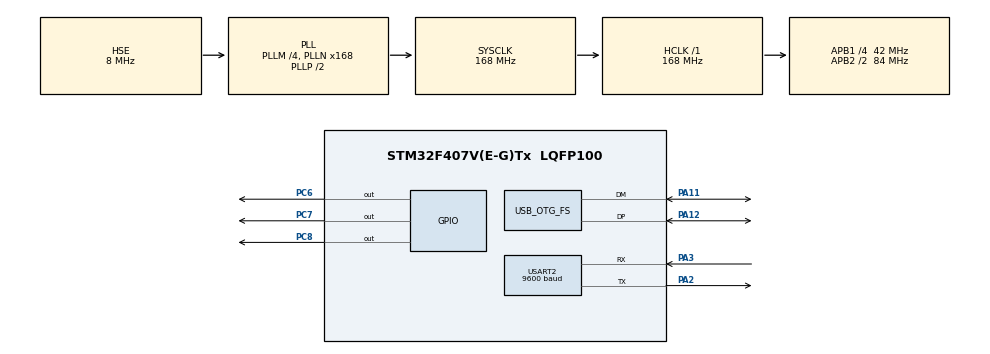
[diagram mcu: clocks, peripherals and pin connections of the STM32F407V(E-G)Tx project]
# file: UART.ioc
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FATFS._MAX_SS=4096
FATFS._MIN_SS=4096
Mcu.Family=STM32F4
Mcu.Name=STM32F407V(E-G)Tx
Mcu.Package=LQFP100
NVIC.OTG_FS_IRQn=true\:0\:0\:false\:false\:true\:false\:true
NVIC.PriorityGroup=NVIC_PRIORITYGROUP_4
NVIC.USART2_IRQn=true\:0\:0\:false\:false\:true\:true\:true
PA11.Mode=Host_Only
PA11.Signal=USB_OTG_FS_DM
PA12.Mode=Host_Only
PA12.Signal=USB_OTG_FS_DP
PA13.Mode=Serial_Wire
PA13.Signal=SYS_JTMS-SWDIO
PA14.Mode=Serial_Wire
PA14.Signal=SYS_JTCK-SWCLK
PA2.Mode=Asynchronous
PA2.Signal=USART2_TX
PA3.Mode=Asynchronous
PA3.Signal=USART2_RX
PC6.Signal=GPIO_Output
PC7.Signal=GPIO_Output
PC8.Signal=GPIO_Output
PH0-OSC_IN.Mode=HSE-External-Oscillator
PH0-OSC_IN.Signal=RCC_OSC_IN
PH1-OSC_OUT.Mode=HSE-External-Oscillator
PH1-OSC_OUT.Signal=RCC_OSC_OUT
ProjectManager.HeapSize=0x2000
ProjectManager.StackSize=0x4000
ProjectManager.TargetToolchain=MDK-ARM V5
RCC.48MHZClocksFreq_Value=48000000
RCC.AHBFreq_Value=168000000
RCC.APB1CLKDivider=RCC_HCLK_DIV4
RCC.APB1Freq_Value=42000000
RCC.APB1TimFreq_Value=84000000
RCC.APB2CLKDivider=RCC_HCLK_DIV2
RCC.APB2Freq_Value=84000000
RCC.APB2TimFreq_Value=168000000
RCC.CortexFreq_Value=168000000
RCC.HCLKFreq_Value=168000000
RCC.HSE_VALUE=8000000
RCC.HSI_VALUE=16000000
RCC.LSE_VALUE=32768
RCC.PLLM=4
RCC.PLLN=168
RCC.PLLQ=7
RCC.SYSCLKFreq_VALUE=168000000
RCC.SYSCLKSource=RCC_SYSCLKSOURCE_PLLCLK
RCC.VCOOutputFreq_Value=336000000
USART2.BaudRate=9600
USART2.VirtualMode=VM_ASYNC
USB_HOST.USBH_HandleTypeDef-MSC_FS=hUsbHostFS
USB_HOST.USBH_MAX_DATA_BUFFER-MSC_FS=4096
USB_HOST.VirtualModeFS=Msc
USB_OTG_FS.VirtualMode=Host_Only
USB_OTG_FS.phy_itface=HCD_PHY_EMBEDDED
VP_FATFS_VS_USB.Mode=USB
VP_USB_HOST_VS_USB_HOST_MSC_FS.Mode=MSC_FS
board=custom

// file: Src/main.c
/* USER CODE BEGIN Header */
/**
  ******************************************************************************
  * @file           : main.c
  * @brief          : Main program body
  ******************************************************************************
  * @attention
  *
  * <h2><center>&copy; Copyright (c) 2020 STMicroelectronics.
  * All rights reserved.</center></h2>
  *
  * This software component is licensed by ST under Ultimate Liberty license
  * SLA0044, the "License"; You may not use this file except in compliance with
  * the License. You may obtain a copy of the License at:
  *                             www.st.com/SLA0044
  *
  ******************************************************************************
  */
/* USER CODE END Header */

#include "main.h"
#include "fatfs.h"
#include "usb_host.h"

/* USER CODE BEGIN Includes */
#include "stdio.h"
/* USER CODE END Includes */

/* USER CODE BEGIN PTD */
#define PUTCHAR_PROTOTYPE int fputc(int ch, FILE *f)
/* USER CODE END PTD */

/* USER CODE BEGIN PD */
FRESULT fresult;
FATFS USBDISKFatFs;
FIL MyFile;
char USBDISKPath[4];
UINT byte_read;
/* USER CODE END PD */

/* USER CODE BEGIN PM */
char Rx_data[13],Data_Rx_Buffer[3000],Data_Buff[500];
uint8_t vrRx;
char ALL_NameFile[500];
uint8_t flag,flag2;
UART_HandleTypeDef huart2;
/* USER CODE END PM */

UART_HandleTypeDef huart2;

void SystemClock_Config(void);
static void MX_GPIO_Init(void);
static void MX_USART2_UART_Init(void);
void MX_USB_HOST_Process(void);

/* USER CODE BEGIN PFP */
extern ApplicationTypeDef Appli_state;
void SystemClock_Config(void);
static void MX_GPIO_Init(void);
static void MX_USART2_UART_Init(void);
void MX_USB_HOST_Process(void);
/* USER CODE END PFP */

/* USER CODE BEGIN 0 */
int e = 0;
void HAL_UART_RxCpltCallback(UART_HandleTypeDef *huart){

    if(huart->Instance == huart2.Instance)
			{
			    if(vrRx != '!'&&vrRx != '/')
						{

							Rx_data[e] = vrRx;
							e++;
						}
					 else if (vrRx == '/')
					  {
							printf("%s",Rx_data);
						  flag2 = 1;
					  }
          else
            {
							printf("%s",Rx_data);
						  flag = 1;
            }
        HAL_UART_Receive_IT(&huart2,&vrRx,1);
      }
}
PUTCHAR_PROTOTYPE
{
 HAL_UART_Transmit(&huart2, (uint8_t *)&ch, 1, 100);
 return ch;
}

FRESULT scan_files (
    char* path
)
{
    FRESULT res;
    DIR dir;
	  int i = 0;
    static FILINFO fno;

    res = f_opendir(&dir, path);
    if (res == FR_OK) {
        for (;;) {
            res = f_readdir(&dir, &fno);
            if (res != FR_OK ) break;
					int a;
  				for(a = 0;a<13;a++)
					{
						if(fno.fname[a] == '.')// loc file TXT
						{

								if(fno.fname[a+1] == 'T')
							{
								sprintf(&ALL_NameFile[((int)fno.fname[0]*1000 + (int)fno.fname[1]*100 + (int)fno.fname[2]*10 + (int)fno.fname[3])*8],"%s" ,fno.fname);

								i=strlen(ALL_NameFile);
								//printf("%d",i);
								break;
							}
							else
							{
								break;
							}
						}
					}
        }
        f_closedir(&dir);
    }
    return res;
}
void getFileName()
{
	 fresult = f_mount(&USBDISKFatFs,(TCHAR const*)USBDISKPath,1);
						if(fresult == FR_OK)
							{
               fresult = scan_files(Data_Buff);
								}
							else
								{
									printf("error");
									}
}

/*void OpenFileName(char *Num_File)
{
	for(int j = 0;j<13;j++)
	{
		if(Num_File[j] == '!')
			{
				for(int i = 0;i<13;i++)
				{
					if(i<j)
						{
							Rx_data[i] = Num_File[i];
						}
					if(i>=j)
						{
							Rx_data[i] = NULL;
						}
				}
			}
	}
	printf("%s",Rx_data);
}*/
/* USER CODE END 0 */

int main(void)
{

  /* MCU Configuration--------------------------------------------------------*/

  /* Reset of all peripherals, Initializes the Flash interface and the Systick. */
  HAL_Init();

  /* Configure the system clock */
  SystemClock_Config();

  /* Initialize all configured peripherals */
  MX_GPIO_Init();
  MX_USART2_UART_Init();
  MX_FATFS_Init();
  MX_USB_HOST_Init();

  /* Infinite loop */
  /* USER CODE BEGIN WHILE */
    HAL_UART_Receive_IT(&huart2,&vrRx,1);
	//printf("%s",Rx_data);
  while (1)
  {
    MX_USB_HOST_Process();
    if(flag == 1)
	   {
			 printf("ok");
			 getFileName();
			 printf("%s",(char *)ALL_NameFile);
			 memset(Rx_data,0,13);
			 e = 0;
			 flag =0;
		 }
      //printf("%s",Fno_file);
		if(flag2 == 1)
			{
			    //OpenFileName(Rx_data);
				   //printf("%c",ALL_NameFile[3]);
				  // printf("%s",Fno_file);
			     fresult = f_mount(&USBDISKFatFs,(TCHAR const*)USBDISKPath,1);
						if(fresult == FR_OK)
							{
								fresult = f_open(&MyFile,Rx_data,FA_READ);
								if(fresult == FR_OK)
							   {
											printf("welldone");
											//f_lseek(&MyFile,0);

											 f_lseek(&MyFile,0);
											 f_read(&MyFile,Data_Rx_Buffer,3000,&byte_read);
									    //fresult = f_read(&MyFile,Data_Rx_Buffer,253,(UINT*)&byte_read);
									    //printf("huy");
											printf("%s",(char*)Data_Rx_Buffer);
											f_close(&MyFile);
											memset(Rx_data,0,13);
											memset(Data_Rx_Buffer,NULL,3000);
											e = 0;
							    }
								}
							else
								{
									printf("error");
	              }
		       flag2 =0;
		    }
	}
}

void SystemClock_Config(void)
{
  RCC_OscInitTypeDef RCC_OscInitStruct = {0};
  RCC_ClkInitTypeDef RCC_ClkInitStruct = {0};

  /** Configure the main internal regulator output voltage
  */
  __HAL_RCC_PWR_CLK_ENABLE();
  __HAL_PWR_VOLTAGESCALING_CONFIG(PWR_REGULATOR_VOLTAGE_SCALE1);
  /** Initializes the CPU, AHB and APB busses clocks
  */
  RCC_OscInitStruct.OscillatorType = RCC_OSCILLATORTYPE_HSE;
  RCC_OscInitStruct.HSEState = RCC_HSE_ON;
  RCC_OscInitStruct.PLL.PLLState = RCC_PLL_ON;
  RCC_OscInitStruct.PLL.PLLSource = RCC_PLLSOURCE_HSE;
  RCC_OscInitStruct.PLL.PLLM = 4;
  RCC_OscInitStruct.PLL.PLLN = 168;
  RCC_OscInitStruct.PLL.PLLP = RCC_PLLP_DIV2;
  RCC_OscInitStruct.PLL.PLLQ = 7;
  if (HAL_RCC_OscConfig(&RCC_OscInitStruct) != HAL_OK)
  {
    Error_Handler();
  }
  /** Initializes the CPU, AHB and APB busses clocks
  */
  RCC_ClkInitStruct.ClockType = RCC_CLOCKTYPE_HCLK|RCC_CLOCKTYPE_SYSCLK
                              |RCC_CLOCKTYPE_PCLK1|RCC_CLOCKTYPE_PCLK2;
  RCC_ClkInitStruct.SYSCLKSource = RCC_SYSCLKSOURCE_PLLCLK;
  RCC_ClkInitStruct.AHBCLKDivider = RCC_SYSCLK_DIV1;
  RCC_ClkInitStruct.APB1CLKDivider = RCC_HCLK_DIV4;
  RCC_ClkInitStruct.APB2CLKDivider = RCC_HCLK_DIV2;

  if (HAL_RCC_ClockConfig(&RCC_ClkInitStruct, FLASH_LATENCY_5) != HAL_OK)
  {
    Error_Handler();
  }
}

static void MX_USART2_UART_Init(void)
{

  huart2.Instance = USART2;
  huart2.Init.BaudRate = 9600;
  huart2.Init.WordLength = UART_WORDLENGTH_8B;
  huart2.Init.StopBits = UART_STOPBITS_1;
  huart2.Init.Parity = UART_PARITY_NONE;
  huart2.Init.Mode = UART_MODE_TX_RX;
  huart2.Init.HwFlowCtl = UART_HWCONTROL_NONE;
  huart2.Init.OverSampling = UART_OVERSAMPLING_16;
  if (HAL_UART_Init(&huart2) != HAL_OK)
  {
    Error_Handler();
  }

}

static void MX_GPIO_Init(void)
{
  GPIO_InitTypeDef GPIO_InitStruct = {0};

  /* GPIO Ports Clock Enable */
  __HAL_RCC_GPIOH_CLK_ENABLE();
  __HAL_RCC_GPIOA_CLK_ENABLE();
  __HAL_RCC_GPIOC_CLK_ENABLE();

  /*Configure GPIO pin Output Level */
  HAL_GPIO_WritePin(GPIOC, GPIO_PIN_6|GPIO_PIN_7|GPIO_PIN_8, GPIO_PIN_RESET);

  /*Configure GPIO pins : PC6 PC7 PC8 */
  GPIO_InitStruct.Pin = GPIO_PIN_6|GPIO_PIN_7|GPIO_PIN_8;
  GPIO_InitStruct.Mode = GPIO_MODE_OUTPUT_PP;
  GPIO_InitStruct.Pull = GPIO_NOPULL;
  GPIO_InitStruct.Speed = GPIO_SPEED_FREQ_LOW;
  HAL_GPIO_Init(GPIOC, &GPIO_InitStruct);

}

void Error_Handler(void)
{
}

/************************ (C) COPYRIGHT STMicroelectronics *****END OF FILE****/
